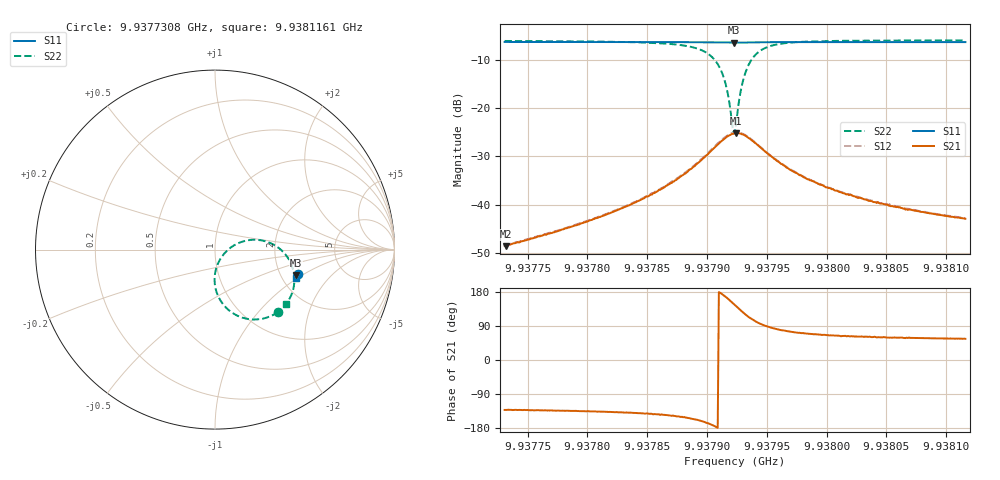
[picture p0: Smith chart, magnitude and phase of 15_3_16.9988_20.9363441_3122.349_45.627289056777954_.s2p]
#  HZ  S  RI  R  50.00
! Rohde & Schwarz Vector Network Analyzer
! Rohde-Schwarz,ZNB20-2Port,1311601062101988,3.16
! Created: UTC 3/20/2024, 10:52:45 PM
! freq[Hz]  re:S11  im:S11  re:S21  im:S21  re:S12  im:S12  re:S22  im:S22
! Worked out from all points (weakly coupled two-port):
!   401 points, 9.9377308 GHz to 9.9381161 GHz, reference 50 ohm
!   highest |S21| = -25.21 dB at 9.9379244 GHz (marker M1); lowest = -48.6 dB at 9.9377318 GHz (marker M2)
!   lowest |S11| = -6.5 dB at 9.9379225 GHz (marker M3), VSWR 2.80, Z = 121 - j44.7 ohm
!   |S11| at or under -10 dB: nowhere
!   |S22| runs from -25.3 to -6.0 dB; largest |S21 - S12| = 0.0023
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9.93773085e9  0.4626 -0.134  -0.00251 -0.00281  -0.00256 -0.00281  0.3517 -0.3463
9.93773181e9  0.4625 -0.1339  -0.00249 -0.00278  -0.00258 -0.00285  0.3516 -0.3462
9.93779538e9  0.4608 -0.1385  -0.00456 -0.00454  -0.0047 -0.00454  0.3298 -0.3605
9.93785991e9  0.4583 -0.1432  -0.0115 -0.00855  -0.0117 -0.00822  0.2674 -0.3845
9.93788977e9  0.4563 -0.1458  -0.023 -0.00995  -0.0237 -0.00985  0.1693 -0.3836
9.93790518e9  0.454 -0.1465  -0.0374 -0.00475  -0.0385 -0.00427  0.0608 -0.3225
9.93791096e9  0.4531 -0.146  -0.044 0.00204  -0.0452 0.003  0.0165 -0.257
9.93791481e9  0.4524 -0.1456  -0.0474 0.00935  -0.0485 0.0109  -0.00111 -0.1926
9.9379177e9  0.4522 -0.1449  -0.0486 0.0164  -0.0495 0.018  -1.71e-05 -0.1354
9.93792155e9  0.4517 -0.144  -0.0471 0.0264  -0.0474 0.0286  0.0278 -0.0557
9.93792251e9  0.4517 -0.1436  -0.046 0.0288  -0.0464 0.031  0.0398 -0.0369
9.93792348e9  0.4519 -0.1433  -0.0448 0.0314  -0.0451 0.0334  0.0538 -0.0197
9.93792444e9  0.452 -0.1431  -0.0434 0.0337  -0.0434 0.0359  0.0695 -0.00382
9.93792829e9  0.4526 -0.1424  -0.0354 0.041  -0.0348 0.0429  0.145 0.0419
9.93793118e9  0.4534 -0.1421  -0.0285 0.0441  -0.0274 0.0458  0.2055 0.0546
9.93793504e9  0.4544 -0.1419  -0.0191 0.0449  -0.0181 0.0461  0.2785 0.047
9.93794081e9  0.4556 -0.1424  -0.00874 0.0422  -0.00762 0.0429  0.3575 0.00716
9.93795623e9  0.4568 -0.1447  0.00351 0.0296  0.00438 0.0298  0.4343 -0.1089
9.93798801e9  0.4567 -0.1481  0.00638 0.0164  0.00688 0.0163  0.4361 -0.2198
9.93801498e9  0.4561 -0.1505  0.00587 0.0118  0.00614 0.0117  0.4237 -0.2565
9.93805254e9  0.4551 -0.1533  0.00503 0.00836  0.00525 0.00867  0.4106 -0.2824
9.93811611e9  0.4534 -0.1577  0.00401 0.00593  0.00418 0.00596  0.3961 -0.3039
